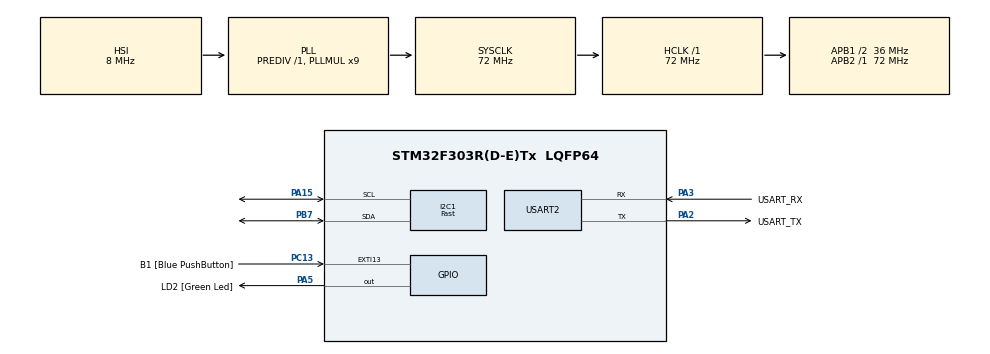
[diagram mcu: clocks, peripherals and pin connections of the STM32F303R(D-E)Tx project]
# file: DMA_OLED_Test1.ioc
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Dma.I2C1_TX.0.Direction=DMA_MEMORY_TO_PERIPH
Dma.I2C1_TX.0.Instance=DMA1_Channel6
Dma.I2C1_TX.0.MemDataAlignment=DMA_MDATAALIGN_BYTE
Dma.I2C1_TX.0.MemInc=DMA_MINC_ENABLE
Dma.I2C1_TX.0.Mode=DMA_NORMAL
Dma.I2C1_TX.0.PeriphDataAlignment=DMA_PDATAALIGN_BYTE
Dma.I2C1_TX.0.PeriphInc=DMA_PINC_DISABLE
Dma.I2C1_TX.0.Priority=DMA_PRIORITY_HIGH
Dma.Request0=I2C1_TX
I2C1.I2C_Speed_Mode=I2C_Fast
I2C1.Timing=0x0000020B
Mcu.Family=STM32F3
Mcu.Name=STM32F303R(D-E)Tx
Mcu.Package=LQFP64
NVIC.DMA1_Channel6_IRQn=true\:0\:0\:false\:false\:true\:false\:true\:true
NVIC.I2C1_EV_IRQn=true\:0\:0\:false\:false\:true\:true\:true\:true
NVIC.PriorityGroup=NVIC_PRIORITYGROUP_0
NVIC.TIM1_UP_TIM16_IRQn=true\:0\:0\:false\:false\:true\:true\:true\:true
PA13.GPIO_Label=TMS
PA13.Mode=Serial_Wire
PA13.Signal=SYS_JTMS-SWDIO
PA14.GPIO_Label=TCK
PA14.Mode=Serial_Wire
PA14.Signal=SYS_JTCK-SWCLK
PA15.GPIO_Pu=GPIO_NOPULL
PA15.Mode=I2C
PA15.Signal=I2C1_SCL
PA2.GPIO_Label=USART_TX
PA2.GPIO_Mode=GPIO_MODE_AF_PP
PA2.GPIO_PuPd=GPIO_NOPULL
PA2.GPIO_Speed=GPIO_SPEED_FREQ_LOW
PA2.Mode=Asynchronous
PA2.Signal=USART2_TX
PA3.GPIO_Label=USART_RX
PA3.GPIO_Mode=GPIO_MODE_AF_PP
PA3.GPIO_PuPd=GPIO_NOPULL
PA3.GPIO_Speed=GPIO_SPEED_FREQ_LOW
PA3.Mode=Asynchronous
PA3.Signal=USART2_RX
PA5.GPIO_Label=LD2 [Green Led]
PA5.GPIO_Mode=GPIO_MODE_OUTPUT_PP
PA5.GPIO_PuPd=GPIO_NOPULL
PA5.GPIO_Speed=GPIO_SPEED_FREQ_LOW
PA5.Signal=GPIO_Output
PB3.GPIO_Label=SWO
PB3.Signal=SYS_JTDO-TRACESWO
PB7.GPIO_Pu=GPIO_NOPULL
PB7.Mode=I2C
PB7.Signal=I2C1_SDA
PC13.GPIO_Label=B1 [Blue PushButton]
PC13.GPIO_ModeDefaultEXTI=GPIO_MODE_IT_FALLING
PC13.Signal=GPXTI13
PC14-OSC32_IN.Mode=LSE-External-Oscillator
PC14-OSC32_IN.Signal=RCC_OSC32_IN
PC15-OSC32_OUT.Mode=LSE-External-Oscillator
PC15-OSC32_OUT.Signal=RCC_OSC32_OUT
PF0-OSC_IN.Mode=HSE-External-Clock-Source
PF0-OSC_IN.Signal=RCC_OSC_IN
PF1-OSC_OUT.Signal=RCC_OSC_OUT
ProjectManager.HeapSize=0x200
ProjectManager.StackSize=0x400
ProjectManager.TargetToolchain=STM32CubeIDE
RCC.AHBFreq_Value=72000000
RCC.APB1CLKDivider=RCC_HCLK_DIV2
RCC.APB1Freq_Value=36000000
RCC.APB1TimFreq_Value=72000000
RCC.APB2Freq_Value=72000000
RCC.APB2TimFreq_Value=72000000
RCC.CortexFreq_Value=72000000
RCC.HCLKFreq_Value=72000000
RCC.HSE_VALUE=8000000
RCC.HSI_VALUE=8000000
RCC.PLLM=8
RCC.PLLMUL=RCC_PLL_MUL9
RCC.PLLN=336
RCC.PLLP=RCC_PLLP_DIV4
RCC.PLLQ=7
RCC.RCC_PLLsource_Clock_Source_FROM_HSE=RCC_HSE_PREDIV_DIV2
RCC.SYSCLKFreq_VALUE=72000000
RCC.SYSCLKSourceVirtual=RCC_SYSCLKSOURCE_PLLCLK
RCC.USBFreq_Value=72000000
TIM16.AutoReloadPreload=TIM_AUTORELOAD_PRELOAD_ENABLE
TIM16.Period=99
TIM16.Prescaler=7199
USART2.VirtualMode-Asynchronous=VM_ASYNC
VP_TIM16_VS_ClockSourceINT.Mode=Enable_Timer
board=NUCLEO-F303RE

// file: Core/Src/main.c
/* USER CODE BEGIN Header */
/**
  ******************************************************************************
  * @file           : main.c
  * @brief          : Main program body
  ******************************************************************************
  * @attention
  *
  * <h2><center>&copy; Copyright (c) 2021 STMicroelectronics.
  * All rights reserved.</center></h2>
  *
  * This software component is licensed by ST under BSD 3-Clause license,
  * the "License"; You may not use this file except in compliance with the
  * License. You may obtain a copy of the License at:
  *                        opensource.org/licenses/BSD-3-Clause
  *
  ******************************************************************************
  */
/* USER CODE END Header */
#include "main.h"
#include "dma.h"
#include "i2c.h"
#include "tim.h"
#include "usart.h"
#include "gpio.h"

/* USER CODE BEGIN Includes */
#include "SSD1306.h"
#include "Font5x8.h"
#include "processes.h"
/* USER CODE END Includes */

void SystemClock_Config(void);

int main(void)
{

  /* MCU Configuration--------------------------------------------------------*/

  /* Reset of all peripherals, Initializes the Flash interface and the Systick. */
  HAL_Init();

  /* Configure the system clock */
  SystemClock_Config();

  /* Initialize all configured peripherals */
  MX_GPIO_Init();
  MX_DMA_Init();
  MX_USART2_UART_Init();
  MX_I2C1_Init();
  MX_TIM16_Init();
  /* USER CODE BEGIN 2 */

  HAL_TIM_Base_Start_IT(&htim16);

  GLCD_Setup();
  	GLCD_SetFont(Font5x8, 5, 8, GLCD_Overwrite);
  	/*
  	GLCD_GotoXY(0, 0);
  	GLCD_PrintString("Testing");
  	GLCD_DrawLine(0, 8, 63, 31, GLCD_Black);
  	GLCD_DrawLine(40, 0, 63, 31, GLCD_Black);
  	GLCD_DrawCircle(63, 31, 10, GLCD_Black);
  	GLCD_InvertRect(0, 0, 39, 7);
  	GLCD_InvertScreen();

  	GLCD_Render();
  	HAL_Delay(1000);
  	*/

  	//Tworzymy trzy obiekty typu T_PROCESS
  	create_obj(&current_proc, 0, current_event);
  	create_obj(&voltage_proc, 0, voltage_event);
  	create_obj(&battery_proc, 0, battery_event);

  /* USER CODE END 2 */

  /* Infinite loop */
  /* USER CODE BEGIN WHILE */
  while (1)
  {
	  PROCESSES_EVENT(1);

    /* USER CODE END WHILE */

  }
}

void SystemClock_Config(void)
{
  RCC_OscInitTypeDef RCC_OscInitStruct = {0};
  RCC_ClkInitTypeDef RCC_ClkInitStruct = {0};
  RCC_PeriphCLKInitTypeDef PeriphClkInit = {0};

  /** Initializes the RCC Oscillators according to the specified parameters
  * in the RCC_OscInitTypeDef structure.
  */
  RCC_OscInitStruct.OscillatorType = RCC_OSCILLATORTYPE_HSI;
  RCC_OscInitStruct.HSIState = RCC_HSI_ON;
  RCC_OscInitStruct.HSICalibrationValue = RCC_HSICALIBRATION_DEFAULT;
  RCC_OscInitStruct.PLL.PLLState = RCC_PLL_ON;
  RCC_OscInitStruct.PLL.PLLSource = RCC_PLLSOURCE_HSI;
  RCC_OscInitStruct.PLL.PLLMUL = RCC_PLL_MUL9;
  RCC_OscInitStruct.PLL.PREDIV = RCC_PREDIV_DIV1;
  if (HAL_RCC_OscConfig(&RCC_OscInitStruct) != HAL_OK)
  {
    Error_Handler();
  }

  /** Initializes the CPU, AHB and APB buses clocks
  */
  RCC_ClkInitStruct.ClockType = RCC_CLOCKTYPE_HCLK|RCC_CLOCKTYPE_SYSCLK
                              |RCC_CLOCKTYPE_PCLK1|RCC_CLOCKTYPE_PCLK2;
  RCC_ClkInitStruct.SYSCLKSource = RCC_SYSCLKSOURCE_PLLCLK;
  RCC_ClkInitStruct.AHBCLKDivider = RCC_SYSCLK_DIV1;
  RCC_ClkInitStruct.APB1CLKDivider = RCC_HCLK_DIV2;
  RCC_ClkInitStruct.APB2CLKDivider = RCC_HCLK_DIV1;

  if (HAL_RCC_ClockConfig(&RCC_ClkInitStruct, FLASH_LATENCY_2) != HAL_OK)
  {
    Error_Handler();
  }
  PeriphClkInit.PeriphClockSelection = RCC_PERIPHCLK_USART2|RCC_PERIPHCLK_I2C1
                              |RCC_PERIPHCLK_TIM16;
  PeriphClkInit.Usart2ClockSelection = RCC_USART2CLKSOURCE_PCLK1;
  PeriphClkInit.I2c1ClockSelection = RCC_I2C1CLKSOURCE_HSI;
  PeriphClkInit.Tim16ClockSelection = RCC_TIM16CLK_HCLK;
  if (HAL_RCCEx_PeriphCLKConfig(&PeriphClkInit) != HAL_OK)
  {
    Error_Handler();
  }
}

/* USER CODE BEGIN 4 */
void HAL_TIM_PeriodElapsedCallback(TIM_HandleTypeDef *htim)
{
	if(htim->Instance == TIM16)
	{

		if(++ms10_cnt>99){
			ms10_cnt=0;
			if(++s1_cnt>59) {	//co 60 sek
				s1_cnt=0;

			}
		}

	}
}
/* USER CODE END 4 */

void Error_Handler(void)
{
  __disable_irq();
  while (1)
  {
  }
}
